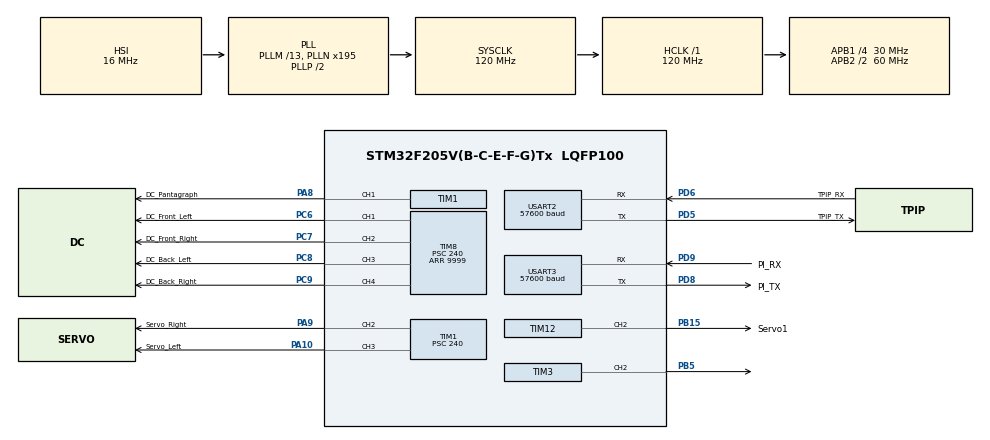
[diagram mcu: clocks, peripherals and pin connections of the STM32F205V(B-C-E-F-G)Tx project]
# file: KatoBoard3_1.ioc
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Mcu.Family=STM32F2
NVIC.USART3_IRQn=true\:0\:0\:false\:false\:true\:true\:true
PH0-OSC_IN.Signal=RCC_OSC_IN
RCC.CortexFreq_Value=120000000
TIM12.Channel-PWM\ Generation2\ CH2=TIM_CHANNEL_2
PC6.GPIO_Label=DC_Front_Left
TIM8.Channel-PWM\ Generation4\ CH4=TIM_CHANNEL_4
PB15.Signal=S_TIM12_CH2
PD6.GPIO_Label=TPIP_RX
PD9.Mode=Asynchronous
RCC.SYSCLKSource=RCC_SYSCLKSOURCE_PLLCLK
ProjectManager.StackSize=0x400
PA12.Signal=USB_OTG_FS_DP
TIM1.Prescaler=240
USART3.BaudRate=57600
RCC.HCLKFreq_Value=120000000
TIM8.Channel-PWM\ Generation1\ CH1=TIM_CHANNEL_1
RCC.APB2TimFreq_Value=120000000
TIM3.Period=9999
PC7.Signal=S_TIM8_CH2
PD8.Signal=USART3_TX
RCC.AHBFreq_Value=120000000
PH0-OSC_IN.Mode=HSE-External-Oscillator
PD5.Mode=Asynchronous
RCC.HSE_VALUE=25000000
TIM12.Period=9999
TIM1.Channel-PWM\ Generation1\ CH1=TIM_CHANNEL_1
PA14.Mode=Serial_Wire
TIM3.Prescaler=120
PA10.GPIO_Label=Servo_Left
PA8.Signal=S_TIM1_CH1
VP_TIM12_VS_ClockSourceINT.Mode=Internal
VP_TIM1_VS_ClockSourceINT.Mode=Internal
PH1-OSC_OUT.Mode=HSE-External-Oscillator
Mcu.Package=LQFP100
TIM2.Prescaler=120
TIM8.Channel-PWM\ Generation3\ CH3=TIM_CHANNEL_3
SH.S_TIM8_CH4.0=TIM8_CH4,PWM Generation4 CH4
USART2.VirtualMode=VM_ASYNC
PD5.GPIO_Label=TPIP_TX
PA10.Signal=S_TIM1_CH3
TIM8.Channel-PWM\ Generation2\ CH2=TIM_CHANNEL_2
SH.S_TIM12_CH2.0=TIM12_CH2,PWM Generation2 CH2
TIM8.Prescaler=240
RCC.APB2CLKDivider=RCC_HCLK_DIV2
RCC.APB1TimFreq_Value=60000000
TIM1.Period=9999
PD6.Signal=USART2_RX
VP_TIM3_VS_ClockSourceINT.Mode=Internal
SH.S_TIM8_CH3.0=TIM8_CH3,PWM Generation3 CH3
PD9.GPIO_Label=PI_RX
PC9.GPIO_Label=DC_Back_Right
PA9.GPIO_Label=Servo_Right
PC8.Signal=S_TIM8_CH3
PC6.Signal=S_TIM8_CH1
PD9.Signal=USART3_RX
PD5.Signal=USART2_TX
RCC.APB1CLKDivider=RCC_HCLK_DIV4
PD6.Mode=Asynchronous
NVIC.USART2_IRQn=true\:0\:0\:false\:false\:true\:true\:true
USART2.BaudRate=57600
SH.S_TIM8_CH2.0=TIM8_CH2,PWM Generation2 CH2
PD8.GPIO_Label=PI_TX
PC8.GPIO_Label=DC_Back_Left
PA13.Signal=SYS_JTMS-SWDIO
PA8.GPIO_Label=DC_Pantagraph
SH.S_TIM1_CH1.0=TIM1_CH1,PWM Generation1 CH1
ProjectManager.TargetToolchain=STM32CubeIDE
PA9.Signal=S_TIM1_CH2
TIM1.Channel-PWM\ Generation2\ CH2=TIM_CHANNEL_2
VP_TIM8_VS_ClockSourceINT.Mode=Internal
RCC.LSE_VALUE=32768
PD8.Mode=Asynchronous
TIM12.Prescaler=120
SH.S_TIM3_CH2.0=TIM3_CH2,PWM Generation2 CH2
SH.S_TIM8_CH1.0=TIM8_CH1,PWM Generation1 CH1
board=custom
RCC.VCOOutputFreq_Value=240000000
RCC.APB2Freq_Value=60000000
VP_TIM2_VS_ClockSourceINT.Mode=Internal
SH.S_TIM1_CH2.0=TIM1_CH2,PWM Generation2 CH2
PB15.GPIO_Label=Servo1
PH1-OSC_OUT.Signal=RCC_OSC_OUT
TIM2.Period=9999
PA13.Mode=Serial_Wire
Mcu.Name=STM32F205V(B-C-E-F-G)Tx
TIM8.Period=9999
PC7.GPIO_Label=DC_Front_Right
RCC.48MHZClocksFreq_Value=60000000
RCC.SYSCLKFreq_VALUE=120000000
PB5.Signal=S_TIM3_CH2
USART3.VirtualMode=VM_ASYNC
PA11.Signal=USB_OTG_FS_DM
PA14.Signal=SYS_JTCK-SWCLK
ProjectManager.HeapSize=0x200
SH.S_TIM1_CH3.0=TIM1_CH3,PWM Generation3 CH3
RCC.HSI_VALUE=16000000
NVIC.PriorityGroup=NVIC_PRIORITYGROUP_4
TIM3.Channel-PWM\ Generation2\ CH2=TIM_CHANNEL_2
RCC.PLLM=13
RCC.PLLN=195
PC9.Signal=S_TIM8_CH4
TIM1.Channel-PWM\ Generation3\ CH3=TIM_CHANNEL_3
RCC.APB1Freq_Value=30000000

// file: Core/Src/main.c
/* USER CODE BEGIN Header */
/**
  ******************************************************************************
  * @file           : main.c
  * @brief          : Main program body
  ******************************************************************************
  * @attention
  *
  * <h2><center>&copy; Copyright (c) 2021 STMicroelectronics.
  * All rights reserved.</center></h2>
  *
  * This software component is licensed by ST under BSD 3-Clause license,
  * the "License"; You may not use this file except in compliance with the
  * License. You may obtain a copy of the License at:
  *                        opensource.org/licenses/BSD-3-Clause
  *
  ******************************************************************************
  */
/* USER CODE END Header */
#include "main.h"
#include <stdio.h>

TIM_HandleTypeDef htim1;
TIM_HandleTypeDef htim2;
TIM_HandleTypeDef htim3;
TIM_HandleTypeDef htim8;
TIM_HandleTypeDef htim12;

UART_HandleTypeDef huart2;
UART_HandleTypeDef huart3;

/* USER CODE BEGIN PV */

typedef struct stm32ControllerData {
	int FR;
	int FL;
	int BR;
	int BL;
} stm32ControllerData;

typedef struct MotorConfig {
	const int MIN;
	const int STOP;
	const int MAX;
} MotorConfig;

typedef enum MotorNum {
	Front_Right,
	Front_Left,
	Back_Right,
	Back_Left,
	Pantagraph,
} MotorNum;

typedef enum ServoNum {
	AR_Back,
	AR_Front,
	Sendo,
} ServoNum;

typedef enum Buttonnum {
	Up,
	Right,
	Down,
	Left,
	Square,
	Cross,
	Circle,
	Triangle,
	L1,
	R1,
	L2,
	R2,
} ButtonNum;

typedef enum Mode {
	Manual,
	Auto,
} Mode;

enum wheel {
	FL, FR, BL, BR
};

MotorConfig motor[5] =
{
// {min, stop, max}
   {260, 750, 1100},  // FR
   {260, 750, 1100},  // FL
   {260, 750, 1100},  // BR
   {260, 750, 1100},   // BL
   {260, 750, 1100}, // panta
};

MotorConfig servo[3] =
{
// {min, stop, max}
   {250, 730, 1200},  // s1 L
   {250, 750, 1200},  // s2 R
   {260, 750, 1100}, // sendo
};

const int BUTTON_NUM = 12;
uint16_t button = 0;
Mode mode = Manual;

/* USER CODE END PV */

void SystemClock_Config(void);
static void MX_GPIO_Init(void);
static void MX_TIM8_Init(void);
static void MX_TIM1_Init(void);
static void MX_TIM12_Init(void);
static void MX_USART3_UART_Init(void);
static void MX_USART2_UART_Init(void);
static void MX_TIM2_Init(void);
static void MX_TIM3_Init(void);
/* USER CODE BEGIN PFP */

///////////////////////////////////////////////  configure   ////
void Rotate_Motor(MotorNum m, int pwm) {
	switch(m) {
		case Front_Left:
			__HAL_TIM_SET_COMPARE(&htim8, TIM_CHANNEL_2, pwm);
			break;
		case Front_Right:
			__HAL_TIM_SET_COMPARE(&htim8, TIM_CHANNEL_1, pwm);
			break;
		case Back_Left:
			__HAL_TIM_SET_COMPARE(&htim8, TIM_CHANNEL_4, pwm);
			break;
		case Back_Right:
			__HAL_TIM_SET_COMPARE(&htim8, TIM_CHANNEL_3, pwm);
			break;
		case Pantagraph:
			__HAL_TIM_SET_COMPARE(&htim1, TIM_CHANNEL_1, pwm);
			break;
	}
}

void Rotate_Servo(ServoNum m, int pwm) {
	switch(m) {

		case AR_Back:
			__HAL_TIM_SET_COMPARE(&htim1, TIM_CHANNEL_3, pwm);
			break;
		case AR_Front:
			__HAL_TIM_SET_COMPARE(&htim1, TIM_CHANNEL_2, pwm);
			break;
		case Sendo:
			__HAL_TIM_SET_COMPARE(&htim12, TIM_CHANNEL_2, pwm);
			break;
	}
}

int sendo_moter_power = 0;

void Move_Button(uint16_t button) {
	if (button) {
		uint16_t bit = 1;
		for (int i = 0; i < BUTTON_NUM; ++i) {
			if (button & bit) {
				switch (i) {
					case Up :
						Rotate_Motor(Pantagraph, motor[Pantagraph].MAX);
						break;
					case Right :
						if (servo[Sendo].STOP + (sendo_moter_power / 5) < servo[Sendo].MAX) {
							++sendo_moter_power;
						}
						Rotate_Servo(Sendo, servo[Sendo].STOP + (sendo_moter_power / 5));
						break;
					case Down :
						Rotate_Motor(Pantagraph, motor[Pantagraph].MIN);
						break;
					case Left :
						if (servo[Sendo].STOP + 35 < (sendo_moter_power / 5) + servo[Sendo].STOP) {
							--sendo_moter_power;
						}
						Rotate_Servo(Sendo, (sendo_moter_power / 5) + servo[Sendo].STOP);
						break;
					case Square :
						break;
					case Cross :
						Rotate_Servo(AR_Back, servo[AR_Back].MIN);
						break;
					case Circle :
						Rotate_Servo(AR_Front, servo[AR_Front].MAX);
						break;
					case Triangle :
						break;
					case L1 :
						mode = Manual;
						uint8_t h = 'M';
						HAL_UART_Transmit(&huart3, (uint8_t * )&h,  sizeof(h), 0x1);
						break;
					case R1:
						mode = Auto;
						break;
					case L2:
						break;
					case R2:
						break;
				}
			}
			bit <<= 1;
		}
	}
	else {
		Rotate_Servo(AR_Back, servo[AR_Back].STOP);
		Rotate_Servo(AR_Front, servo[AR_Front].STOP);
		Rotate_Motor(Pantagraph, motor[Pantagraph].STOP);
	}
}

int pwm_val[4];
uint8_t rec_buffer[5];
stm32ControllerData stm32Controller;

void Drive() {

	pwm_val[FL] = stm32Controller.FL + motor[FL].STOP;
	pwm_val[FR] = stm32Controller.FR + motor[FR].STOP;
	pwm_val[BL] = stm32Controller.BL + motor[BL].STOP;
	pwm_val[BR] = stm32Controller.BR + motor[BR].STOP;

	for (int i = 0; i < 4; ++i) {
		if(pwm_val[i] > motor[i].STOP) {
			pwm_val[i] = ((pwm_val[i] - motor[i].STOP) * (motor[i].MAX - motor[i].STOP)) / 100 + motor[i].STOP;
		}
		else if(pwm_val[i] < motor[i].STOP) {
			pwm_val[i] = ((pwm_val[i] - motor[i].STOP) * (motor[i].STOP - motor[i].MIN)) / 100 + motor[i].STOP;
		}
	}

	  // rotate motor
	Rotate_Motor(Front_Left, pwm_val[FL]);
	Rotate_Motor(Front_Right, pwm_val[FR]);
	Rotate_Motor(Back_Left, pwm_val[BL]);
	Rotate_Motor(Back_Right, pwm_val[BR]);
}

void HAL_UART_RxCpltCallback(UART_HandleTypeDef* huart) {
	if (mode == Auto) {
		if (rec_buffer[0] == 'H') {
			stm32Controller.FR = rec_buffer[1] - 100;
			stm32Controller.FL = rec_buffer[2] - 100;
			stm32Controller.BR = rec_buffer[3] - 100;
			stm32Controller.BL = rec_buffer[4] - 100;
		}
	}

	HAL_UART_Receive_IT(&huart3, rec_buffer, 5);
}

/////////////////////////////////////////////////////////////////

/* USER CODE END PFP */

int main(void)
{

  /* MCU Configuration--------------------------------------------------------*/

  /* Reset of all peripherals, Initializes the Flash interface and the Systick. */
  HAL_Init();

  /* Configure the system clock */
  SystemClock_Config();

  /* Initialize all configured peripherals */
  MX_GPIO_Init();
  MX_TIM8_Init();
  MX_TIM1_Init();
  MX_TIM12_Init();
  MX_USART3_UART_Init();
  MX_USART2_UART_Init();
  MX_TIM2_Init();
  MX_TIM3_Init();

  /* Infinite loop */
  /* USER CODE BEGIN WHILE */
  //success!!
  //PIN  TIM CH POS  MIN STOP MAX   MOVE
  //PC6  T8  C1 FL   300 700  1200  o
  //PC7  T8  C2 FR   300 700  1200  o
  //PC8  T8  C3 BL   300 700  1200  o
  //PC9  T8  C4 BR   300 700  1200  o
  //PB5  T3  C2 LS
  //PB15 T2  C2 RS
  //PA8  T1  C1 PA
  //PA9  T1  C2
  //PA10 T1  C3

  //UART
  //huart2 TPIP-STM
  //huart3 PC - STM

  // ex) FL: Front Left   BR: Back Right

  HAL_TIM_PWM_Start(&htim8, TIM_CHANNEL_1);  // FL
  HAL_TIM_PWM_Start(&htim8, TIM_CHANNEL_2);  // FR
  HAL_TIM_PWM_Start(&htim8, TIM_CHANNEL_3);  // BL
  HAL_TIM_PWM_Start(&htim8, TIM_CHANNEL_4);  // BR
  HAL_TIM_PWM_Start(&htim3, TIM_CHANNEL_2); // sendo
  HAL_TIM_PWM_Start(&htim12, TIM_CHANNEL_2); // servo_2
  HAL_TIM_PWM_Start(&htim1, TIM_CHANNEL_1); // panta
  HAL_TIM_PWM_Start(&htim1, TIM_CHANNEL_2); // servo
  HAL_TIM_PWM_Start(&htim1, TIM_CHANNEL_3); // servo

  HAL_UART_Receive_IT(&huart3, rec_buffer, 5);

  while (1) {
	  uint8_t tpip_key = '0';

	  HAL_UART_Receive(&huart2, (uint8_t *)&tpip_key, sizeof(tpip_key), 0x1);

	  uint8_t power_FB_R = 100; // receive data
	  uint8_t power_RL_R = 100; // receive data
	  uint8_t power_RL_L = 100; // receive data

	  if (mode == Manual) {
		  if (tpip_key == 'H') {
			  HAL_UART_Receive(&huart2, (uint8_t * )&power_FB_R,  sizeof(power_FB_R), 0x1);
			  HAL_UART_Receive(&huart2, (uint8_t * )&power_RL_R,  sizeof(power_RL_R), 0x1);
			  HAL_UART_Receive(&huart2, (uint8_t * )&power_RL_L,  sizeof(power_RL_L), 0x1);

			  // turn
			  if (5 < abs(power_RL_L - 100)) {
				  stm32Controller.FR = power_RL_L - 100;
				  stm32Controller.FL = power_RL_L - 100; stm32Controller.FL *= -1;
				  stm32Controller.BR = power_RL_L - 100;
				  stm32Controller.BL = power_RL_L - 100; stm32Controller.BL *= -1;
			  }
			  // side
			  else if (abs(power_FB_R - 100) < abs(power_RL_R - 100)) {
				  stm32Controller.FR = power_RL_R - 100; stm32Controller.FR *= -1;
				  stm32Controller.FL = power_RL_R - 100;
				  stm32Controller.BR = power_RL_R - 100;
				  stm32Controller.BL = power_RL_R - 100; stm32Controller.BL *= -1;
			  }
			  // straight
			  else {
				  stm32Controller.FR = power_FB_R - 100;
				  stm32Controller.FL = power_FB_R - 100;
				  stm32Controller.BR = power_FB_R - 100;
				  stm32Controller.BL = power_FB_R - 100;
			  }
		  }
	  }

	  if (tpip_key == 'B') {
		  HAL_UART_Receive(&huart2, (uint16_t * )&button , sizeof(button), 0xFF);
	  }
	  else if (tpip_key == 'N') {
		  button = 0;
	  }

	  Move_Button(button);

	  Drive();

    /* USER CODE END WHILE */

  }
}

void SystemClock_Config(void)
{
  RCC_OscInitTypeDef RCC_OscInitStruct = {0};
  RCC_ClkInitTypeDef RCC_ClkInitStruct = {0};

  /** Initializes the RCC Oscillators according to the specified parameters
  * in the RCC_OscInitTypeDef structure.
  */
  RCC_OscInitStruct.OscillatorType = RCC_OSCILLATORTYPE_HSI;
  RCC_OscInitStruct.HSIState = RCC_HSI_ON;
  RCC_OscInitStruct.HSICalibrationValue = RCC_HSICALIBRATION_DEFAULT;
  RCC_OscInitStruct.PLL.PLLState = RCC_PLL_ON;
  RCC_OscInitStruct.PLL.PLLSource = RCC_PLLSOURCE_HSI;
  RCC_OscInitStruct.PLL.PLLM = 13;
  RCC_OscInitStruct.PLL.PLLN = 195;
  RCC_OscInitStruct.PLL.PLLP = RCC_PLLP_DIV2;
  RCC_OscInitStruct.PLL.PLLQ = 4;
  if (HAL_RCC_OscConfig(&RCC_OscInitStruct) != HAL_OK)
  {
    Error_Handler();
  }
  /** Initializes the CPU, AHB and APB buses clocks
  */
  RCC_ClkInitStruct.ClockType = RCC_CLOCKTYPE_HCLK|RCC_CLOCKTYPE_SYSCLK
                              |RCC_CLOCKTYPE_PCLK1|RCC_CLOCKTYPE_PCLK2;
  RCC_ClkInitStruct.SYSCLKSource = RCC_SYSCLKSOURCE_PLLCLK;
  RCC_ClkInitStruct.AHBCLKDivider = RCC_SYSCLK_DIV1;
  RCC_ClkInitStruct.APB1CLKDivider = RCC_HCLK_DIV4;
  RCC_ClkInitStruct.APB2CLKDivider = RCC_HCLK_DIV2;

  if (HAL_RCC_ClockConfig(&RCC_ClkInitStruct, FLASH_LATENCY_3) != HAL_OK)
  {
    Error_Handler();
  }
}

static void MX_TIM1_Init(void)
{

  TIM_ClockConfigTypeDef sClockSourceConfig = {0};
  TIM_MasterConfigTypeDef sMasterConfig = {0};
  TIM_OC_InitTypeDef sConfigOC = {0};
  TIM_BreakDeadTimeConfigTypeDef sBreakDeadTimeConfig = {0};

  htim1.Instance = TIM1;
  htim1.Init.Prescaler = 240;
  htim1.Init.CounterMode = TIM_COUNTERMODE_UP;
  htim1.Init.Period = 9999;
  htim1.Init.ClockDivision = TIM_CLOCKDIVISION_DIV1;
  htim1.Init.RepetitionCounter = 0;
  htim1.Init.AutoReloadPreload = TIM_AUTORELOAD_PRELOAD_DISABLE;
  if (HAL_TIM_Base_Init(&htim1) != HAL_OK)
  {
    Error_Handler();
  }
  sClockSourceConfig.ClockSource = TIM_CLOCKSOURCE_INTERNAL;
  if (HAL_TIM_ConfigClockSource(&htim1, &sClockSourceConfig) != HAL_OK)
  {
    Error_Handler();
  }
  if (HAL_TIM_PWM_Init(&htim1) != HAL_OK)
  {
    Error_Handler();
  }
  sMasterConfig.MasterOutputTrigger = TIM_TRGO_RESET;
  sMasterConfig.MasterSlaveMode = TIM_MASTERSLAVEMODE_DISABLE;
  if (HAL_TIMEx_MasterConfigSynchronization(&htim1, &sMasterConfig) != HAL_OK)
  {
    Error_Handler();
  }
  sConfigOC.OCMode = TIM_OCMODE_PWM1;
  sConfigOC.Pulse = 0;
  sConfigOC.OCPolarity = TIM_OCPOLARITY_HIGH;
  sConfigOC.OCNPolarity = TIM_OCNPOLARITY_HIGH;
  sConfigOC.OCFastMode = TIM_OCFAST_DISABLE;
  sConfigOC.OCIdleState = TIM_OCIDLESTATE_RESET;
  sConfigOC.OCNIdleState = TIM_OCNIDLESTATE_RESET;
  if (HAL_TIM_PWM_ConfigChannel(&htim1, &sConfigOC, TIM_CHANNEL_1) != HAL_OK)
  {
    Error_Handler();
  }
  if (HAL_TIM_PWM_ConfigChannel(&htim1, &sConfigOC, TIM_CHANNEL_2) != HAL_OK)
  {
    Error_Handler();
  }
  if (HAL_TIM_PWM_ConfigChannel(&htim1, &sConfigOC, TIM_CHANNEL_3) != HAL_OK)
  {
    Error_Handler();
  }
  sBreakDeadTimeConfig.OffStateRunMode = TIM_OSSR_DISABLE;
  sBreakDeadTimeConfig.OffStateIDLEMode = TIM_OSSI_DISABLE;
  sBreakDeadTimeConfig.LockLevel = TIM_LOCKLEVEL_OFF;
  sBreakDeadTimeConfig.DeadTime = 0;
  sBreakDeadTimeConfig.BreakState = TIM_BREAK_DISABLE;
  sBreakDeadTimeConfig.BreakPolarity = TIM_BREAKPOLARITY_HIGH;
  sBreakDeadTimeConfig.AutomaticOutput = TIM_AUTOMATICOUTPUT_DISABLE;
  if (HAL_TIMEx_ConfigBreakDeadTime(&htim1, &sBreakDeadTimeConfig) != HAL_OK)
  {
    Error_Handler();
  }
  HAL_TIM_MspPostInit(&htim1);

}

static void MX_TIM2_Init(void)
{

  TIM_ClockConfigTypeDef sClockSourceConfig = {0};
  TIM_MasterConfigTypeDef sMasterConfig = {0};

  htim2.Instance = TIM2;
  htim2.Init.Prescaler = 120;
  htim2.Init.CounterMode = TIM_COUNTERMODE_UP;
  htim2.Init.Period = 9999;
  htim2.Init.ClockDivision = TIM_CLOCKDIVISION_DIV1;
  htim2.Init.AutoReloadPreload = TIM_AUTORELOAD_PRELOAD_DISABLE;
  if (HAL_TIM_Base_Init(&htim2) != HAL_OK)
  {
    Error_Handler();
  }
  sClockSourceConfig.ClockSource = TIM_CLOCKSOURCE_INTERNAL;
  if (HAL_TIM_ConfigClockSource(&htim2, &sClockSourceConfig) != HAL_OK)
  {
    Error_Handler();
  }
  sMasterConfig.MasterOutputTrigger = TIM_TRGO_RESET;
  sMasterConfig.MasterSlaveMode = TIM_MASTERSLAVEMODE_DISABLE;
  if (HAL_TIMEx_MasterConfigSynchronization(&htim2, &sMasterConfig) != HAL_OK)
  {
    Error_Handler();
  }

}

static void MX_TIM3_Init(void)
{

  TIM_ClockConfigTypeDef sClockSourceConfig = {0};
  TIM_MasterConfigTypeDef sMasterConfig = {0};
  TIM_OC_InitTypeDef sConfigOC = {0};

  htim3.Instance = TIM3;
  htim3.Init.Prescaler = 120;
  htim3.Init.CounterMode = TIM_COUNTERMODE_UP;
  htim3.Init.Period = 9999;
  htim3.Init.ClockDivision = TIM_CLOCKDIVISION_DIV1;
  htim3.Init.AutoReloadPreload = TIM_AUTORELOAD_PRELOAD_DISABLE;
  if (HAL_TIM_Base_Init(&htim3) != HAL_OK)
  {
    Error_Handler();
  }
  sClockSourceConfig.ClockSource = TIM_CLOCKSOURCE_INTERNAL;
  if (HAL_TIM_ConfigClockSource(&htim3, &sClockSourceConfig) != HAL_OK)
  {
    Error_Handler();
  }
  if (HAL_TIM_PWM_Init(&htim3) != HAL_OK)
  {
    Error_Handler();
  }
  sMasterConfig.MasterOutputTrigger = TIM_TRGO_RESET;
  sMasterConfig.MasterSlaveMode = TIM_MASTERSLAVEMODE_DISABLE;
  if (HAL_TIMEx_MasterConfigSynchronization(&htim3, &sMasterConfig) != HAL_OK)
  {
    Error_Handler();
  }
  sConfigOC.OCMode = TIM_OCMODE_PWM1;
  sConfigOC.Pulse = 0;
  sConfigOC.OCPolarity = TIM_OCPOLARITY_HIGH;
  sConfigOC.OCFastMode = TIM_OCFAST_DISABLE;
  if (HAL_TIM_PWM_ConfigChannel(&htim3, &sConfigOC, TIM_CHANNEL_2) != HAL_OK)
  {
    Error_Handler();
  }
  HAL_TIM_MspPostInit(&htim3);

}

static void MX_TIM8_Init(void)
{

  TIM_ClockConfigTypeDef sClockSourceConfig = {0};
  TIM_MasterConfigTypeDef sMasterConfig = {0};
  TIM_OC_InitTypeDef sConfigOC = {0};
  TIM_BreakDeadTimeConfigTypeDef sBreakDeadTimeConfig = {0};

  htim8.Instance = TIM8;
  htim8.Init.Prescaler = 240;
  htim8.Init.CounterMode = TIM_COUNTERMODE_UP;
  htim8.Init.Period = 9999;
  htim8.Init.ClockDivision = TIM_CLOCKDIVISION_DIV1;
  htim8.Init.RepetitionCounter = 0;
  htim8.Init.AutoReloadPreload = TIM_AUTORELOAD_PRELOAD_DISABLE;
  if (HAL_TIM_Base_Init(&htim8) != HAL_OK)
  {
    Error_Handler();
  }
  sClockSourceConfig.ClockSource = TIM_CLOCKSOURCE_INTERNAL;
  if (HAL_TIM_ConfigClockSource(&htim8, &sClockSourceConfig) != HAL_OK)
  {
    Error_Handler();
  }
  if (HAL_TIM_PWM_Init(&htim8) != HAL_OK)
  {
    Error_Handler();
  }
  sMasterConfig.MasterOutputTrigger = TIM_TRGO_RESET;
  sMasterConfig.MasterSlaveMode = TIM_MASTERSLAVEMODE_DISABLE;
  if (HAL_TIMEx_MasterConfigSynchronization(&htim8, &sMasterConfig) != HAL_OK)
  {
    Error_Handler();
  }
  sConfigOC.OCMode = TIM_OCMODE_PWM1;
  sConfigOC.Pulse = 0;
  sConfigOC.OCPolarity = TIM_OCPOLARITY_HIGH;
  sConfigOC.OCNPolarity = TIM_OCNPOLARITY_HIGH;
  sConfigOC.OCFastMode = TIM_OCFAST_DISABLE;
  sConfigOC.OCIdleState = TIM_OCIDLESTATE_RESET;
  sConfigOC.OCNIdleState = TIM_OCNIDLESTATE_RESET;
  if (HAL_TIM_PWM_ConfigChannel(&htim8, &sConfigOC, TIM_CHANNEL_1) != HAL_OK)
  {
    Error_Handler();
  }
  if (HAL_TIM_PWM_ConfigChannel(&htim8, &sConfigOC, TIM_CHANNEL_2) != HAL_OK)
  {
    Error_Handler();
  }
  if (HAL_TIM_PWM_ConfigChannel(&htim8, &sConfigOC, TIM_CHANNEL_3) != HAL_OK)
  {
    Error_Handler();
  }
  if (HAL_TIM_PWM_ConfigChannel(&htim8, &sConfigOC, TIM_CHANNEL_4) != HAL_OK)
  {
    Error_Handler();
  }
  sBreakDeadTimeConfig.OffStateRunMode = TIM_OSSR_DISABLE;
  sBreakDeadTimeConfig.OffStateIDLEMode = TIM_OSSI_DISABLE;
  sBreakDeadTimeConfig.LockLevel = TIM_LOCKLEVEL_OFF;
  sBreakDeadTimeConfig.DeadTime = 0;
  sBreakDeadTimeConfig.BreakState = TIM_BREAK_DISABLE;
  sBreakDeadTimeConfig.BreakPolarity = TIM_BREAKPOLARITY_HIGH;
  sBreakDeadTimeConfig.AutomaticOutput = TIM_AUTOMATICOUTPUT_DISABLE;
  if (HAL_TIMEx_ConfigBreakDeadTime(&htim8, &sBreakDeadTimeConfig) != HAL_OK)
  {
    Error_Handler();
  }
  HAL_TIM_MspPostInit(&htim8);

}

static void MX_TIM12_Init(void)
{

  TIM_ClockConfigTypeDef sClockSourceConfig = {0};
  TIM_OC_InitTypeDef sConfigOC = {0};

  htim12.Instance = TIM12;
  htim12.Init.Prescaler = 120;
  htim12.Init.CounterMode = TIM_COUNTERMODE_UP;
  htim12.Init.Period = 9999;
  htim12.Init.ClockDivision = TIM_CLOCKDIVISION_DIV1;
  htim12.Init.AutoReloadPreload = TIM_AUTORELOAD_PRELOAD_DISABLE;
  if (HAL_TIM_Base_Init(&htim12) != HAL_OK)
  {
    Error_Handler();
  }
  sClockSourceConfig.ClockSource = TIM_CLOCKSOURCE_INTERNAL;
  if (HAL_TIM_ConfigClockSource(&htim12, &sClockSourceConfig) != HAL_OK)
  {
    Error_Handler();
  }
  if (HAL_TIM_PWM_Init(&htim12) != HAL_OK)
  {
    Error_Handler();
  }
  sConfigOC.OCMode = TIM_OCMODE_PWM1;
  sConfigOC.Pulse = 0;
  sConfigOC.OCPolarity = TIM_OCPOLARITY_HIGH;
  sConfigOC.OCFastMode = TIM_OCFAST_DISABLE;
  if (HAL_TIM_PWM_ConfigChannel(&htim12, &sConfigOC, TIM_CHANNEL_2) != HAL_OK)
  {
    Error_Handler();
  }
  HAL_TIM_MspPostInit(&htim12);

}

static void MX_USART2_UART_Init(void)
{

  huart2.Instance = USART2;
  huart2.Init.BaudRate = 57600;
  huart2.Init.WordLength = UART_WORDLENGTH_8B;
  huart2.Init.StopBits = UART_STOPBITS_1;
  huart2.Init.Parity = UART_PARITY_NONE;
  huart2.Init.Mode = UART_MODE_TX_RX;
  huart2.Init.HwFlowCtl = UART_HWCONTROL_NONE;
  huart2.Init.OverSampling = UART_OVERSAMPLING_16;
  if (HAL_UART_Init(&huart2) != HAL_OK)
  {
    Error_Handler();
  }

}

static void MX_USART3_UART_Init(void)
{

  huart3.Instance = USART3;
  huart3.Init.BaudRate = 57600;
  huart3.Init.WordLength = UART_WORDLENGTH_8B;
  huart3.Init.StopBits = UART_STOPBITS_1;
  huart3.Init.Parity = UART_PARITY_NONE;
  huart3.Init.Mode = UART_MODE_TX_RX;
  huart3.Init.HwFlowCtl = UART_HWCONTROL_NONE;
  huart3.Init.OverSampling = UART_OVERSAMPLING_16;
  if (HAL_UART_Init(&huart3) != HAL_OK)
  {
    Error_Handler();
  }

}

static void MX_GPIO_Init(void)
{
  GPIO_InitTypeDef GPIO_InitStruct = {0};

  /* GPIO Ports Clock Enable */
  __HAL_RCC_GPIOH_CLK_ENABLE();
  __HAL_RCC_GPIOB_CLK_ENABLE();
  __HAL_RCC_GPIOD_CLK_ENABLE();
  __HAL_RCC_GPIOC_CLK_ENABLE();
  __HAL_RCC_GPIOA_CLK_ENABLE();

  /*Configure GPIO pins : PA11 PA12 */
  GPIO_InitStruct.Pin = GPIO_PIN_11|GPIO_PIN_12;
  GPIO_InitStruct.Mode = GPIO_MODE_AF_PP;
  GPIO_InitStruct.Pull = GPIO_NOPULL;
  GPIO_InitStruct.Speed = GPIO_SPEED_FREQ_VERY_HIGH;
  GPIO_InitStruct.Alternate = GPIO_AF10_OTG_FS;
  HAL_GPIO_Init(GPIOA, &GPIO_InitStruct);

}

void Error_Handler(void)
{
  __disable_irq();
  while (1)
  {
  }
}

/************************ (C) COPYRIGHT STMicroelectronics *****END OF FILE****/
